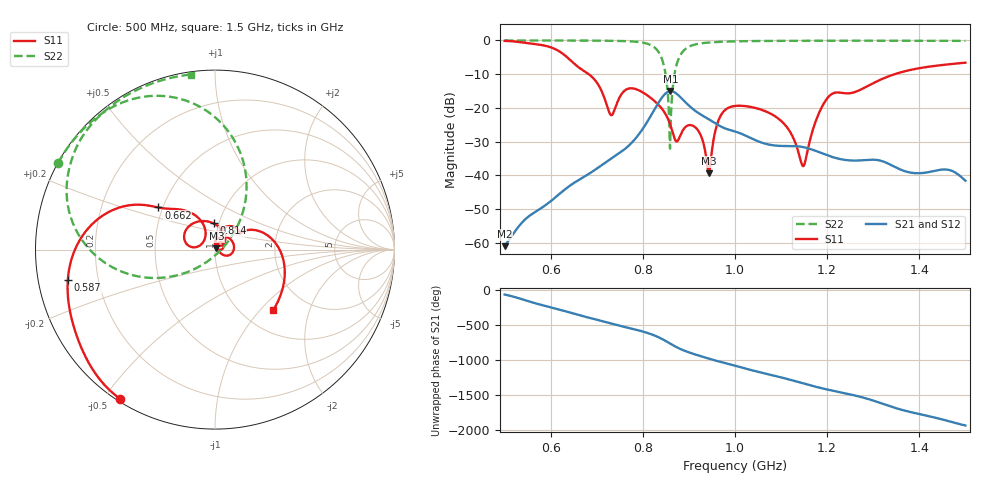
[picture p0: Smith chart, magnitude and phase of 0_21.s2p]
! TOUCHSTONE file generated by CST MICROWAVE STUDIO
! Date and time: Sat Oct 24 11:13:59 2020
! Project name: Scenario_1_Circular_Tissue_in_Line.cst
! Parameters = {L_HA=400; MT=2.54; Rad_Dielectric=30; Rad_Lower=7.3; Rad_Upper=30; a_HA=580; a_WG=246; b_HA=500; b_WG=121; c_HA=0; c_WG=187; d_feed=85; dx1=519.4; h_feed=15; h_lower=18; h_upper=40}
! Header version: 2018
! Port assignment regex: !\s*Touchstone port\s*([0-9]+)\s*=\s*(CST MWS port|CST DS port)\s*([0-9]+|Zmin|Zmax)\s*\(\"(.*)\"\)(\s*mode\s*([0-9]+))?.*
! Touchstone port assignment:
! Touchstone port 1 = CST MWS port 1 ("")
! Touchstone port 2 = CST MWS port 2 ("")
# GHz S DB R 50
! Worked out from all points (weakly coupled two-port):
!   1003 points, 500 MHz to 1.5 GHz, reference 50 ohm
!   highest |S21| = -15.01 dB at 860 MHz (marker M1); lowest = -61.0 dB at 500 MHz (marker M2)
!   lowest |S11| = -39.4 dB at 943 MHz (marker M3), VSWR 1.02, Z = 50.8 + j0.715 ohm
!   |S11| at or under -10 dB: 682.6 MHz to 1.346 GHz (663.9 MHz wide, 65.4 % of centre)
!   |S22| runs from -32.1 to 0.0 dB; largest |S21 - S12| = 9.6e-05
!   S11 on the Smith chart (normalised r, x): 500 MHz: 0.01, -0.55; 587 MHz: 0.09, -0.10; 662 MHz: 0.47, +0.26; 814 MHz: 0.94, +0.28; 1.5 GHz: 1.36, -1.18
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0.5  -0.13 -122.5  -60.96 -59.4  -60.96 -59.4  -0.01 151.1
0.587  -1.54 -168.4  -48.98 139.8  -48.98 139.8  -0.02 145.1
0.662  -8.11 143.4  -41.26 5.6  -41.26 5.6  -0.04 138.9
0.667  -8.58 141.7  -40.85 -3.4  -40.85 -3.4  -0.04 138.4
0.731  -22.15 144.2  -35.04 -114.7  -35.04 -114.7  -0.11 130.7
0.766  -14.41 154.1  -31.60 -172.7  -31.60 -172.7  -0.23 124.1
0.814  -16.70 93.2  -23.11 102.0  -23.11 102.0  -1.18 104.4
0.834  -19.08 67.1  -18.46 49.1  -18.46 49.1  -3.41 84.6
0.847  -21.32 48.3  -16.02 4.9  -16.02 4.9  -8.28 62.8
0.86  -25.18 31.9  -15.01 -44.9  -15.01 -44.9  -26.74 -106.6
0.868  -28.69 34.8  -15.30 -74.9  -15.30 -74.9  -10.55 -149.2
0.881  -28.25 63.0  -16.74 -118.0  -16.74 -118.0  -4.46 -171.7
0.916  -26.02 17.1  -21.08 157.5  -21.08 157.5  -1.12 159.9
0.943  -39.38 40.9  -23.35 103.2  -23.35 103.2  -0.63 150.7
0.966  -23.09 72.5  -25.26 60.3  -25.26 60.3  -0.43 145.7
1  -19.42 23.8  -26.96 1.6  -26.96 1.6  -0.27 140.3
1.098  -23.59 -30.0  -31.25 -162.7  -31.25 -162.7  -0.13 129.9
1.147  -37.19 18.5  -31.58 110.0  -31.58 110.0  -0.10 125.8
1.167  -27.38 84.4  -32.32 73.7  -32.32 73.7  -0.10 124.3
1.208  -16.06 56.3  -34.40 9.0  -34.40 9.0  -0.08 121.1
1.334  -10.60 17.0  -36.60 145.1  -36.60 145.1  -0.09 111.5
1.5  -6.58 -46.3  -41.56 -134.5  -41.55 -135.1  -0.13 97.9
